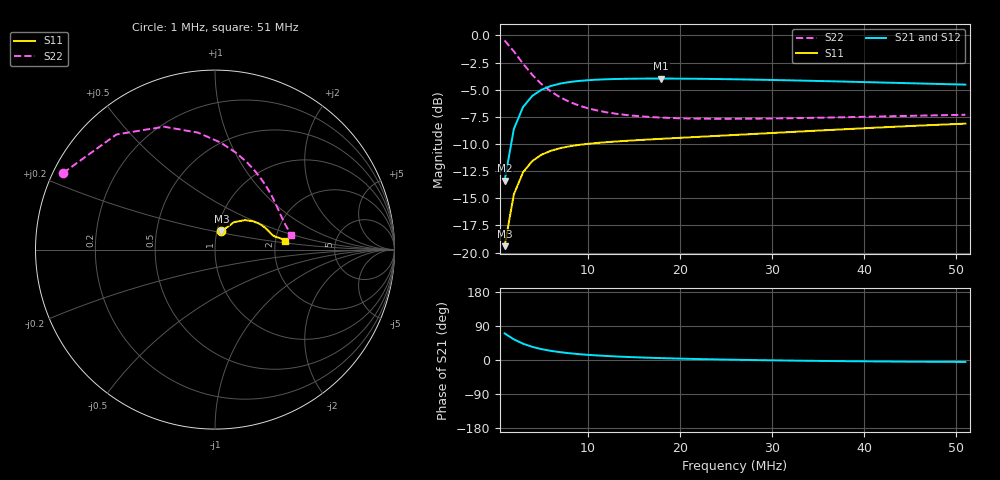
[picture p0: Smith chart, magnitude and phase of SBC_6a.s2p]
# MHz S RI R 50
! S-Parameters data
! Freq  reS11  imS11  reS21  imS21  reS12  imS12  reS22  imS22
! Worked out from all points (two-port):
!   51 points, 1 MHz to 51 MHz, reference 50 ohm
!   highest |S21| = -3.97 dB at 18 MHz (marker M1); lowest = -13.4 dB at 1 MHz (marker M2)
!   |S21| within 3 dB of the highest: 2.813 MHz to end of sweep
!   lowest |S11| = -19.4 dB at 1 MHz (marker M3), VSWR 1.24, Z = 52.6 + j10.7 ohm
!   |S11| at or under -10 dB: start of sweep to 9.942 MHz
!   |S22| runs from -7.7 to -0.5 dB; largest |S21 - S12| = 0.00029
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1  0.0356 0.1009  0.0725 0.2015  0.0726 0.2016  -0.8465 0.4267
2  0.1049 0.1524  0.2152 0.3016  0.2153 0.3016  -0.5489 0.6417
3  0.167 0.1643  0.3424 0.3191  0.3424 0.3189  -0.2835 0.6848
4  0.2112 0.1581  0.4327 0.2999  0.4329 0.2999  -0.0952 0.6517
5  0.2409 0.1467  0.4929 0.27  0.4931 0.27  0.0309 0.5966
6  0.2612 0.135  0.5333 0.2397  0.5334 0.2395  0.1161 0.5403
7  0.2754 0.1246  0.5609 0.2119  0.5609 0.2118  0.1749 0.4894
8  0.2857 0.1157  0.58 0.1873  0.5802 0.1873  0.2167 0.445
9  0.2935 0.1083  0.5939 0.166  0.5939 0.166  0.2473 0.4073
10  0.2995 0.1021  0.6039 0.1474  0.604 0.1473  0.2704 0.375
11  0.3044 0.0969  0.6115 0.1309  0.6116 0.131  0.2883 0.3474
12  0.3085 0.0926  0.617 0.1165  0.6172 0.1165  0.3026 0.3235
14  0.315 0.086  0.6243 0.092  0.6246 0.0919  0.3234 0.2847
16  0.3202 0.0813  0.6284 0.0717  0.6286 0.0718  0.3381 0.2546
18  0.3248 0.0779  0.6305 0.0548  0.6306 0.0548  0.3491 0.2308
20  0.329 0.0753  0.631 0.0406  0.6311 0.0405  0.3577 0.2112
22  0.333 0.0734  0.6308 0.028  0.6306 0.028  0.3648 0.1951
26  0.3408 0.0705  0.6279 0.0072  0.6279 0.00732  0.3765 0.1698
30  0.3486 0.0681  0.6234 -0.00922  0.6234 -0.00912  0.3862 0.1501
35  0.3587 0.0649  0.6163 -0.0253  0.6164 -0.0252  0.3968 0.1304
43  0.3745 0.0579  0.6037 -0.0429  0.6037 -0.0429  0.4115 0.1041
51  0.3895 0.0472  0.5911 -0.0531  0.5912 -0.0529  0.4236 0.0795
